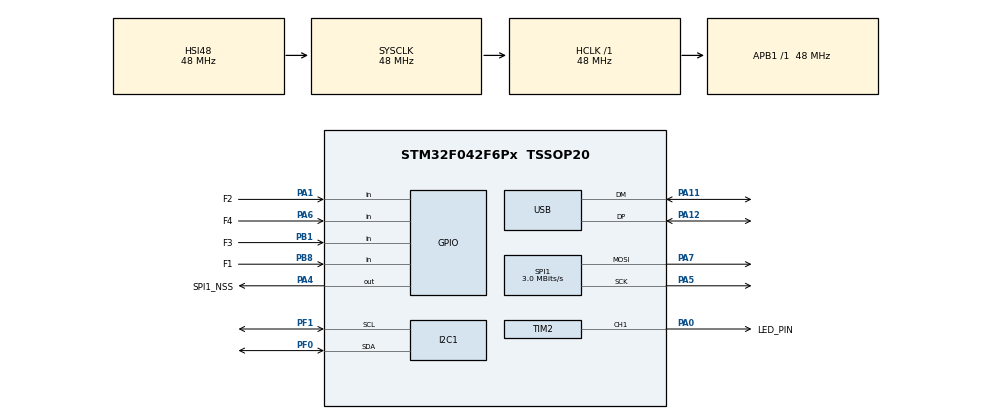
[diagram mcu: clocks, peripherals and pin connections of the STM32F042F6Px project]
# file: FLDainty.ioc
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Dma.Request0=TIM2_CH1
Dma.Request1=SPI1_TX
Dma.SPI1_TX.1.Direction=DMA_MEMORY_TO_PERIPH
Dma.SPI1_TX.1.Instance=DMA1_Channel3
Dma.SPI1_TX.1.MemDataAlignment=DMA_MDATAALIGN_BYTE
Dma.SPI1_TX.1.MemInc=DMA_MINC_ENABLE
Dma.SPI1_TX.1.Mode=DMA_NORMAL
Dma.SPI1_TX.1.PeriphDataAlignment=DMA_PDATAALIGN_BYTE
Dma.SPI1_TX.1.PeriphInc=DMA_PINC_DISABLE
Dma.SPI1_TX.1.Priority=DMA_PRIORITY_LOW
Dma.TIM2_CH1.0.Direction=DMA_MEMORY_TO_PERIPH
Dma.TIM2_CH1.0.Instance=DMA1_Channel5
Dma.TIM2_CH1.0.MemDataAlignment=DMA_MDATAALIGN_BYTE
Dma.TIM2_CH1.0.MemInc=DMA_MINC_ENABLE
Dma.TIM2_CH1.0.Mode=DMA_CIRCULAR
Dma.TIM2_CH1.0.PeriphDataAlignment=DMA_PDATAALIGN_WORD
Dma.TIM2_CH1.0.PeriphInc=DMA_PINC_DISABLE
Dma.TIM2_CH1.0.Priority=DMA_PRIORITY_HIGH
Mcu.Family=STM32F0
Mcu.Name=STM32F042F6Px
Mcu.Package=TSSOP20
NVIC.DMA1_Channel2_3_IRQn=true\:0\:0\:false\:false\:true\:false\:true
NVIC.DMA1_Channel4_5_IRQn=true\:0\:0\:false\:false\:true\:false\:true
NVIC.TIM16_IRQn=true\:0\:0\:false\:false\:true\:true\:true
NVIC.USB_IRQn=true\:0\:0\:false\:false\:true\:false\:true
PA0.GPIO_Label=LED_PIN
PA0.Signal=S_TIM2_CH1_ETR
PA1.GPIO_Label=F2
PA1.GPIO_PuPd=GPIO_PULLUP
PA1.Signal=GPIO_Input
PA11.Mode=Device
PA11.Signal=USB_DM
PA12.Mode=Device
PA12.Signal=USB_DP
PA13.Mode=Serial_Wire
PA13.Signal=SYS_SWDIO
PA14.Mode=Serial_Wire
PA14.Signal=SYS_SWCLK
PA4.GPIO_Label=SPI1_NSS
PA4.Signal=GPIO_Output
PA5.Mode=TX_Only_Simplex_Unidirect_Master
PA5.Signal=SPI1_SCK
PA6.GPIO_Label=F4
PA6.GPIO_PuPd=GPIO_PULLUP
PA6.Signal=GPIO_Input
PA7.Mode=TX_Only_Simplex_Unidirect_Master
PA7.Signal=SPI1_MOSI
PB1.GPIO_Label=F3
PB1.GPIO_PuPd=GPIO_PULLUP
PB1.Signal=GPIO_Input
PB8.GPIO_Label=F1
PB8.GPIO_PuPd=GPIO_PULLUP
PB8.Signal=GPIO_Input
PF0-OSC_IN.Mode=I2C
PF0-OSC_IN.Signal=I2C1_SDA
PF1-OSC_OUT.Mode=I2C
PF1-OSC_OUT.Signal=I2C1_SCL
ProjectManager.HeapSize=0x000
ProjectManager.StackSize=0x200
ProjectManager.TargetToolchain=SW4STM32
RCC.AHBFreq_Value=48000000
RCC.APB1Freq_Value=48000000
RCC.APB1TimFreq_Value=48000000
RCC.HCLKFreq_Value=48000000
RCC.SYSCLKFreq_VALUE=48000000
RCC.SYSCLKSource=RCC_SYSCLKSOURCE_HSI48
SH.S_TIM2_CH1_ETR.0=TIM2_CH1,PWM Generation1 CH1
SPI1.BaudRatePrescaler=SPI_BAUDRATEPRESCALER_16
SPI1.CLKPhase=SPI_PHASE_2EDGE
SPI1.CLKPolarity=SPI_POLARITY_HIGH
SPI1.CalculateBaudRate=3.0 MBits/s
SPI1.DataSize=SPI_DATASIZE_8BIT
SPI1.Direction=SPI_DIRECTION_2LINES
SPI1.FirstBit=SPI_FIRSTBIT_LSB
SPI1.Mode=SPI_MODE_MASTER
SPI1.VirtualType=VM_MASTER
TIM16.Period=1
TIM16.Prescaler=20000-1
TIM2.Channel-PWM\ Generation1\ CH1=TIM_CHANNEL_1
TIM2.Period=60-1
USB_DEVICE.APP_RX_DATA_SIZE=40
USB_DEVICE.APP_TX_DATA_SIZE=20
USB_DEVICE.CLASS_NAME_FS=CDC
USB_DEVICE.USBD_MAX_STR_DESC_SIZ=32
USB_DEVICE.USBD_SELF_POWERED=0
USB_DEVICE.VirtualMode=Cdc
USB_DEVICE.VirtualModeFS=Cdc_FS
VP_SYS_VS_PINREMAP.Mode=PINREMAP
VP_TIM16_VS_ClockSourceINT.Mode=Enable_Timer
VP_TIM2_VS_ClockSourceINT.Mode=Internal
VP_USB_DEVICE_VS_USB_DEVICE_CDC_FS.Mode=CDC_FS
board=custom

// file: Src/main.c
/* USER CODE BEGIN Header */
/**
  ******************************************************************************
  * @file           : main.c
  * @brief          : Main program body
  ******************************************************************************
  * @attention
  *
  * <h2><center>&copy; Copyright (c) 2020 STMicroelectronics.
  * All rights reserved.</center></h2>
  *
  * This software component is licensed by ST under Ultimate Liberty license
  * SLA0044, the "License"; You may not use this file except in compliance with
  * the License. You may obtain a copy of the License at:
  *                             www.st.com/SLA0044
  *
  ******************************************************************************
  */
/* USER CODE END Header */

#include "main.h"
#include "usb_device.h"

/* USER CODE BEGIN Includes */
#include "../../Commons/vfdco_clock_routines.h"
/* USER CODE END Includes */

I2C_HandleTypeDef hi2c1;

SPI_HandleTypeDef hspi1;
DMA_HandleTypeDef hdma_spi1_tx;

TIM_HandleTypeDef htim2;
TIM_HandleTypeDef htim16;
DMA_HandleTypeDef hdma_tim2_ch1;

void SystemClock_Config(void);
static void MX_GPIO_Init(void);
static void MX_DMA_Init(void);
static void MX_I2C1_Init(void);
static void MX_SPI1_Init(void);
static void MX_TIM2_Init(void);
static void MX_TIM16_Init(void);

int main(void)
{

  /* MCU Configuration--------------------------------------------------------*/

  /* Reset of all peripherals, Initializes the Flash interface and the Systick. */
  HAL_Init();

  /* Configure the system clock */
  SystemClock_Config();

  /* Initialize all configured peripherals */
  MX_GPIO_Init();
  MX_DMA_Init();
  MX_TIM2_Init();
  MX_I2C1_Init();
  MX_SPI1_Init();
  MX_TIM16_Init();
  MX_USB_DEVICE_Init();
  /* USER CODE BEGIN 2 */

  // Initialize clock
  vfdco_clock_initializer();

  /* USER CODE END 2 */

  /* Infinite loop */
  while (1)
  {

    /* USER CODE BEGIN 3 */

  	// WoHOo hOw FuN iS tHhIis??
  	vfdco_clock_routine();
  }
  /* USER CODE END 3 */
}

void SystemClock_Config(void)
{
  RCC_OscInitTypeDef RCC_OscInitStruct = {0};
  RCC_ClkInitTypeDef RCC_ClkInitStruct = {0};
  RCC_PeriphCLKInitTypeDef PeriphClkInit = {0};

  /** Initializes the CPU, AHB and APB busses clocks
  */
  RCC_OscInitStruct.OscillatorType = RCC_OSCILLATORTYPE_HSI|RCC_OSCILLATORTYPE_HSI48;
  RCC_OscInitStruct.HSIState = RCC_HSI_ON;
  RCC_OscInitStruct.HSI48State = RCC_HSI48_ON;
  RCC_OscInitStruct.HSICalibrationValue = RCC_HSICALIBRATION_DEFAULT;
  RCC_OscInitStruct.PLL.PLLState = RCC_PLL_NONE;
  if (HAL_RCC_OscConfig(&RCC_OscInitStruct) != HAL_OK)
  {
    Error_Handler();
  }
  /** Initializes the CPU, AHB and APB busses clocks
  */
  RCC_ClkInitStruct.ClockType = RCC_CLOCKTYPE_HCLK|RCC_CLOCKTYPE_SYSCLK
                              |RCC_CLOCKTYPE_PCLK1;
  RCC_ClkInitStruct.SYSCLKSource = RCC_SYSCLKSOURCE_HSI48;
  RCC_ClkInitStruct.AHBCLKDivider = RCC_SYSCLK_DIV1;
  RCC_ClkInitStruct.APB1CLKDivider = RCC_HCLK_DIV1;

  if (HAL_RCC_ClockConfig(&RCC_ClkInitStruct, FLASH_LATENCY_1) != HAL_OK)
  {
    Error_Handler();
  }
  PeriphClkInit.PeriphClockSelection = RCC_PERIPHCLK_USB|RCC_PERIPHCLK_I2C1;
  PeriphClkInit.I2c1ClockSelection = RCC_I2C1CLKSOURCE_HSI;
  PeriphClkInit.UsbClockSelection = RCC_USBCLKSOURCE_HSI48;

  if (HAL_RCCEx_PeriphCLKConfig(&PeriphClkInit) != HAL_OK)
  {
    Error_Handler();
  }
}

static void MX_I2C1_Init(void)
{

  hi2c1.Instance = I2C1;
  hi2c1.Init.Timing = 0x2000090E;
  hi2c1.Init.OwnAddress1 = 0;
  hi2c1.Init.AddressingMode = I2C_ADDRESSINGMODE_7BIT;
  hi2c1.Init.DualAddressMode = I2C_DUALADDRESS_DISABLE;
  hi2c1.Init.OwnAddress2 = 0;
  hi2c1.Init.OwnAddress2Masks = I2C_OA2_NOMASK;
  hi2c1.Init.GeneralCallMode = I2C_GENERALCALL_DISABLE;
  hi2c1.Init.NoStretchMode = I2C_NOSTRETCH_DISABLE;
  if (HAL_I2C_Init(&hi2c1) != HAL_OK)
  {
    Error_Handler();
  }
  /** Configure Analogue filter
  */
  if (HAL_I2CEx_ConfigAnalogFilter(&hi2c1, I2C_ANALOGFILTER_ENABLE) != HAL_OK)
  {
    Error_Handler();
  }
  /** Configure Digital filter
  */
  if (HAL_I2CEx_ConfigDigitalFilter(&hi2c1, 0) != HAL_OK)
  {
    Error_Handler();
  }

}

static void MX_SPI1_Init(void)
{

  /* SPI1 parameter configuration*/
  hspi1.Instance = SPI1;
  hspi1.Init.Mode = SPI_MODE_MASTER;
  hspi1.Init.Direction = SPI_DIRECTION_2LINES;
  hspi1.Init.DataSize = SPI_DATASIZE_8BIT;
  hspi1.Init.CLKPolarity = SPI_POLARITY_HIGH;
  hspi1.Init.CLKPhase = SPI_PHASE_2EDGE;
  hspi1.Init.NSS = SPI_NSS_SOFT;
  hspi1.Init.BaudRatePrescaler = SPI_BAUDRATEPRESCALER_16;
  hspi1.Init.FirstBit = SPI_FIRSTBIT_LSB;
  hspi1.Init.TIMode = SPI_TIMODE_DISABLE;
  hspi1.Init.CRCCalculation = SPI_CRCCALCULATION_DISABLE;
  hspi1.Init.CRCPolynomial = 7;
  hspi1.Init.CRCLength = SPI_CRC_LENGTH_DATASIZE;
  hspi1.Init.NSSPMode = SPI_NSS_PULSE_DISABLE;
  if (HAL_SPI_Init(&hspi1) != HAL_OK)
  {
    Error_Handler();
  }

}

static void MX_TIM2_Init(void)
{

  TIM_ClockConfigTypeDef sClockSourceConfig = {0};
  TIM_MasterConfigTypeDef sMasterConfig = {0};
  TIM_OC_InitTypeDef sConfigOC = {0};

  htim2.Instance = TIM2;
  htim2.Init.Prescaler = 0;
  htim2.Init.CounterMode = TIM_COUNTERMODE_UP;
  htim2.Init.Period = 60-1;
  htim2.Init.ClockDivision = TIM_CLOCKDIVISION_DIV1;
  htim2.Init.AutoReloadPreload = TIM_AUTORELOAD_PRELOAD_DISABLE;
  if (HAL_TIM_Base_Init(&htim2) != HAL_OK)
  {
    Error_Handler();
  }
  sClockSourceConfig.ClockSource = TIM_CLOCKSOURCE_INTERNAL;
  if (HAL_TIM_ConfigClockSource(&htim2, &sClockSourceConfig) != HAL_OK)
  {
    Error_Handler();
  }
  if (HAL_TIM_PWM_Init(&htim2) != HAL_OK)
  {
    Error_Handler();
  }
  sMasterConfig.MasterOutputTrigger = TIM_TRGO_RESET;
  sMasterConfig.MasterSlaveMode = TIM_MASTERSLAVEMODE_DISABLE;
  if (HAL_TIMEx_MasterConfigSynchronization(&htim2, &sMasterConfig) != HAL_OK)
  {
    Error_Handler();
  }
  sConfigOC.OCMode = TIM_OCMODE_PWM1;
  sConfigOC.Pulse = 0;
  sConfigOC.OCPolarity = TIM_OCPOLARITY_HIGH;
  sConfigOC.OCFastMode = TIM_OCFAST_DISABLE;
  if (HAL_TIM_PWM_ConfigChannel(&htim2, &sConfigOC, TIM_CHANNEL_1) != HAL_OK)
  {
    Error_Handler();
  }
  HAL_TIM_MspPostInit(&htim2);

}

static void MX_TIM16_Init(void)
{

  htim16.Instance = TIM16;
  htim16.Init.Prescaler = 20000-1;
  htim16.Init.CounterMode = TIM_COUNTERMODE_UP;
  htim16.Init.Period = 1;
  htim16.Init.ClockDivision = TIM_CLOCKDIVISION_DIV1;
  htim16.Init.RepetitionCounter = 0;
  htim16.Init.AutoReloadPreload = TIM_AUTORELOAD_PRELOAD_DISABLE;
  if (HAL_TIM_Base_Init(&htim16) != HAL_OK)
  {
    Error_Handler();
  }

}

static void MX_DMA_Init(void)
{

  /* DMA controller clock enable */
  __HAL_RCC_DMA1_CLK_ENABLE();

  /* DMA interrupt init */
  /* DMA1_Channel2_3_IRQn interrupt configuration */
  HAL_NVIC_SetPriority(DMA1_Channel2_3_IRQn, 0, 0);
  HAL_NVIC_EnableIRQ(DMA1_Channel2_3_IRQn);
  /* DMA1_Channel4_5_IRQn interrupt configuration */
  HAL_NVIC_SetPriority(DMA1_Channel4_5_IRQn, 0, 0);
  HAL_NVIC_EnableIRQ(DMA1_Channel4_5_IRQn);

}

static void MX_GPIO_Init(void)
{
  GPIO_InitTypeDef GPIO_InitStruct = {0};

  /* GPIO Ports Clock Enable */
  __HAL_RCC_GPIOB_CLK_ENABLE();
  __HAL_RCC_GPIOF_CLK_ENABLE();
  __HAL_RCC_GPIOA_CLK_ENABLE();

  /*Configure GPIO pin Output Level */
  HAL_GPIO_WritePin(SPI1_NSS_GPIO_Port, SPI1_NSS_Pin, GPIO_PIN_RESET);

  /*Configure GPIO pins : F1_Pin F3_Pin */
  GPIO_InitStruct.Pin = F1_Pin|F3_Pin;
  GPIO_InitStruct.Mode = GPIO_MODE_INPUT;
  GPIO_InitStruct.Pull = GPIO_PULLUP;
  HAL_GPIO_Init(GPIOB, &GPIO_InitStruct);

  /*Configure GPIO pins : F2_Pin F4_Pin */
  GPIO_InitStruct.Pin = F2_Pin|F4_Pin;
  GPIO_InitStruct.Mode = GPIO_MODE_INPUT;
  GPIO_InitStruct.Pull = GPIO_PULLUP;
  HAL_GPIO_Init(GPIOA, &GPIO_InitStruct);

  /*Configure GPIO pins : PA2 PA3 */
  GPIO_InitStruct.Pin = GPIO_PIN_2|GPIO_PIN_3;
  GPIO_InitStruct.Mode = GPIO_MODE_ANALOG;
  GPIO_InitStruct.Pull = GPIO_NOPULL;
  HAL_GPIO_Init(GPIOA, &GPIO_InitStruct);

  /*Configure GPIO pin : SPI1_NSS_Pin */
  GPIO_InitStruct.Pin = SPI1_NSS_Pin;
  GPIO_InitStruct.Mode = GPIO_MODE_OUTPUT_PP;
  GPIO_InitStruct.Pull = GPIO_NOPULL;
  GPIO_InitStruct.Speed = GPIO_SPEED_FREQ_LOW;
  HAL_GPIO_Init(SPI1_NSS_GPIO_Port, &GPIO_InitStruct);

}

/* USER CODE BEGIN 4 */
volatile uint32_t _bootloader_flag = 0xABCDEF;

void activate_bootloader(uint32_t bootloader_status) {
	if(bootloader_status == 1) {
		// Write DFU message
		uint8_t dfu_msg[6] = {0x00, 0x00, 0x00, 0x7C, 0x8E, 0x7A};
		NVIC_DisableIRQ(TIM16_IRQn);
		HAL_SPI_Transmit(&hspi1, dfu_msg, CONFIG_NUM_DIGITS, 40);
		HAL_GPIO_WritePin(GPIOA, GPIO_PIN_4, GPIO_PIN_SET);
		HAL_GPIO_WritePin(GPIOA, GPIO_PIN_4, GPIO_PIN_RESET);
		NVIC_EnableIRQ(TIM16_IRQn);
		// Disable interrupts
		__disable_irq();
		// http://blog.fahhem.com/2017/12/jump-to-emb-bootloader/
		_bootloader_flag = 0x00C0FFEE; // Magic number flag set
		// See you latte
		NVIC_SystemReset();

	  while(1);
	}
}

/* USER CODE END 4 */

void Error_Handler(void)
{
}

/************************ (C) COPYRIGHT STMicroelectronics *****END OF FILE****/
